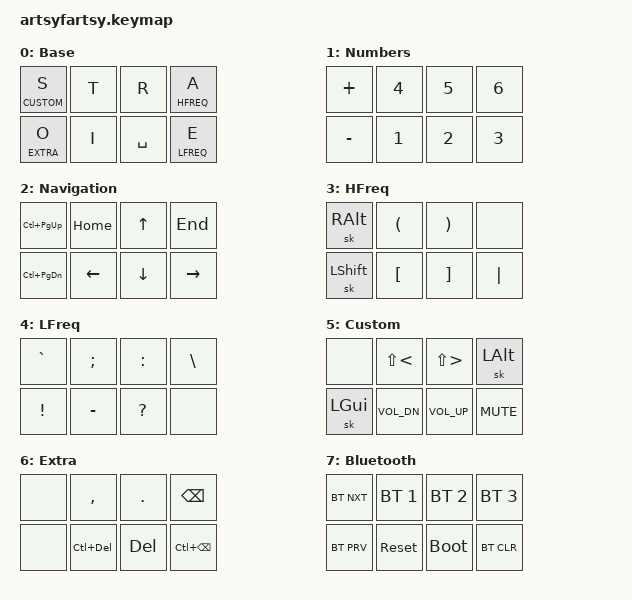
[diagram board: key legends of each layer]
/*
 * SPDX-License-Identifier: MIT
 */

#include <behaviors.dtsi>
#include <dt-bindings/zmk/keys.h>
#include <dt-bindings/zmk/bt.h>
#include <dt-bindings/zmk/outputs.h>



sensor-bindings = <&inc_dec_kp C_VOL_UP C_VOL_DN>;

// LAYERS
// ====================================================
#define BASE    	0
#define NUMBERS 	1
#define NAVIGATION 	2
#define HFREQ 		3
#define LFREQ 		4
#define CUSTOM 		5
#define EXTRA		6
#define BLE		7

// Using layer taps on thumbs, having quick tap as well helps w/ repeating space/backspace
&lt { quick_tap_ms = <200>; };
// Sticky Layer Behavior - release sticky behavior after x ms
&sk { release-after-ms = <1800>; };

// ARTSEY DEFINITIONS (use in conjunction with ARTSEY COMBOS)
// ====================================================
// ZMK uses HW key positions for the combos
/*
	.-----------------------.
	|  0  |  1  |  2  |  3  |
	|  4  |  5  |  6  |  7  |  
	'-----------------------' 
*/
// change according to your HW positions on your shield (board)
// {Key}{Top,Bottom}{Index,Middle,Ring,Pinky}

// ARTS Row Top
#define KTI 3 // Index
#define KTM 2 // Middle
#define KTR 1 // Ring
#define KTP 0 // Pinky
 
// EYIO Row Bottom
#define KBI 7 // Index
#define KBM 6 // Middle
#define KBR 5 // Ring
#define KBP 4 // Pinky


// BEHAVIOR
// ====================================================

/{
	behaviors {
		// Enables holding the first mod-tap key
		// by performing a tap-release-hold sequence.
		// To use it: "&qt KEYCODE1 KEYCODE2"
		qt: quick_tap {
			compatible = "zmk,behavior-hold-tap";
			label = "QUICK_TAP";
			#binding-cells = <2>;
			flavor = "hold-preferred";
			tapping-term-ms = <200>;
			quick-tap-ms = <200>;
			bindings = <&kp>, <&kp>;
		};
	};


// COMBOS
// ====================================================
/*
	.-----------------------.
	|  0  |  1  |  2  |  3  |
	|  4  |  5  |  6  |  7  |  
	'-----------------------' 
*/
// ARTSEY COMBOS
// name of the combo, output of the combo, input for the combo, applied on which layers
	#define COMBO(NAME, BINDINGS, KEYPOS, LAYER) \
	combo_##NAME { \
		timeout-ms = <120>; \
		bindings = <BINDINGS>; \
		key-positions = <KEYPOS>; \
		layers = <LAYER>; \
	};

   combos {
        compatible = "zmk,combos";
		/***************
		* 2 key combos
		****************/
		COMBO(1,&kp ENTER,KTI KBI,0 1 2 3 4 5 6)		// ENTER
		COMBO(2,&sk LCTRL,KBI KTP, 0 1 2 3 4 5 6)		// LCTRL *oneshot
		COMBO(3,&sk LGUI,KBM KTP, 0 1 2 3 4 5 6)		// LGUI  *oneshot
		COMBO(4,&sk RALT,KBR KTP, 0 1 2 3 4 5 6)		// RALT  *oneshot
		COMBO(5,&kp BACKSPACE,KBI KTM, 0 1 2 3 4 5 6)		// BACKSPACE
		COMBO(6,&kp DELETE,KBR KTM, 0 1 2 3 4 5 6)		// DELETE
		COMBO(7,&kt LSHFT,KBM KTM, 0 1 2 3 4 5 6)		// LSHIFT #toggle

		COMBO(8,&kp B,KBI KBP, 0)				// B
		COMBO(9,&kp C,KBI KBM, 0)				// C
		COMBO(10,&kp N,KBP KBR, 0)				// N
		COMBO(11,&kp F,KTM KTI, 0)				// F
		COMBO(12,&kp G,KTR KTM, 0)				// G
		COMBO(13,&kp U,KBR KBM, 0)				// U
		COMBO(14,&kp H,KBI KBR, 0)				// H
		COMBO(15,&kp V,KTP KTM, 0)				// V
		COMBO(16,&kp J,KTP KTR, 0)				// J
		COMBO(17,&kp W,KTP KTI, 0)				// W
		COMBO(18,&kp K,KBP KBM, 0)				// K

		COMBO(19,&kp PERIOD,KBM KTI, 0 1)			// PERIOD
		COMBO(20,&kp COMMA,KBR KTI, 0 1)			// COMMA
		COMBO(21,&kp SLASH,KBP KTI, 0 1)			// SLASH
		COMBO(22,&kp EXCL,KTR KBR, 0 1)				// EXCLAMATION

		COMBO(23,&kp N7,KTR KTM, 1)				// 7
		COMBO(24,&kp N8,KTM KTI, 1)				// 8
		COMBO(25,&kp N9,KBR KBM, 1)				// 9
		COMBO(26,&kp N0,KBM KBI, 1)				// 0

		/***************
		* 3 key combos
		****************/
		COMBO(27,&kp ESC,KTI KTM KBP,0 1 2 3 4 5 6)			// ESC
		COMBO(28,&to NAVIGATION,KBR KTM KBI,0 1 2 3 4 5 6)		// LAYER: NAVIGATION >to
		COMBO(29,&kp CAPS,KBP KTR KBM,0 1 2 3 4 5 6)			// CAPS

		COMBO(30,&kp M,KBP KBR KBM,0)
		COMBO(31,&kp D,KTR KTM KTI,0)
		COMBO(32,&kp P,KBP KBR KBI,0)
		COMBO(33,&kp Q,KTP KTR KTI,0)
		COMBO(34,&kp X,KTP KTR KTM,0)
		COMBO(35,&kp L,KBR KBM KBI,0)
		COMBO(36,&kp SQT,KBR KBM KTI,0)

		/***************
		* 4 key combos
		****************/
		COMBO(37,&kp Y,KBP KBR KBM KBI,0)				// Y
		COMBO(38,&kp Z,KTP KTR KTM KTI,0)				// Z

		COMBO(39,&kp TAB,KBP KTR KTM KTI,0 1 2 3 4 5 6)			// TAB
		COMBO(40,&to BASE,KTP KTR KTM KBI,0 1 2 3 4 5 6)		// LAYER: BASE >to
		COMBO(41,&tog BLE,KTP KBP KTI KBI,0 1 2 3 4 5 6)		// LAYER: BLUETOOTH #toggle
		COMBO(42,&to NUMBERS,KTR KTM KBR KBM,0 1 2 3 4 5 6)		// LAYER: NUMBERS >to
		COMBO(43,&to BASE,KTP KTR KBP KBR,0 1 2 3 4 5 6)		// LAYER: BASE (Fallback) >to

   };

// KEYMAP
// ====================================================
	keymap {
		compatible = "zmk,keymap";
// -----------------------------------------------------------------------------		
/*  0 = Base
	 .-----------------------.
Custom --|-[0] |  1  |  2  | [3]-|-- Low Frequency		[#]-- HOLD to access Layer
Extra  --|-[4] |  5  |  6  | [7]-|-- High Frequency
	 '-----------------------' 
*/
		// LAYER: BASE 0
		default_layer {
			label = "Base";
			bindings = <
			&lt CUSTOM S   &kp T       &kp R       &lt HFREQ A 
			&lt EXTRA O    &kp I       &kp SPACE   &lt LFREQ E 
			>;
		};

// -----------------------------------------------------------------------------
/*  1 = Numbers
	.-----------------------.
	|  0  |  1  |  2  |  3  |
	|  4  |  5  |  6  |  7  |  
	'-----------------------' 
*/
		// LAYER: NUMBERS 1
		numbers_layer {
			label = "Numbers";
			bindings = <
			&kp PLUS    &kp N4      &kp N5      &kp N6
			&kp MINUS   &kp N1      &kp N2      &kp N3
			>;
		};

// -----------------------------------------------------------------------------
/*  2 = Navigation
	.-----------------------.
	|  0  |  1  |  2  |  3  |
	|  4  |  5  |  6  |  7  |  
	'-----------------------' 
*/
		// LAYER: NAVIGATION 2
		navigation_layer {
			label = "Navigation";
			bindings = <
			&kp LC(PG_UP)   &kp HOME    &kp UP       &kp END 
			&kp LC(PG_DN)   &kp LEFT    &kp DOWN     &kp RIGHT 
			>;
		};

// -----------------------------------------------------------------------------
/*  3 = High Frequency
	.-----------------------.
	|  0  |  1  |  2  |  3  |
	|  4  |  5  |  6  |  7  |  
	'-----------------------' 
*/
		// LAYER: HFREQ 3
		hfreq_layer {
			label = "HFreq";
			bindings = <
			&sk RALT   &kp LPAR    &kp RPAR    &none 
			&sk LSHFT  &kp LBKT    &kp RBKT    &kp PIPE
			>;
		};

// -----------------------------------------------------------------------------
/*  4 = Low Frequency
	.-----------------------.
	|  0  |  1  |  2  |  3  |
	|  4  |  5  |  6  |  7  |  
	'-----------------------' 
*/
		// LAYER: LFREQ 4
		lfreq_layer {
			label = "LFreq";
			bindings = <
			&kp GRAVE   &kp SEMI    &kp COLON   &kp BSLH 
			&kp EXCL    &kp MINUS   &kp QMARK   &none
			>;
		};

// -----------------------------------------------------------------------------

/*  5 = Custom
	.-----------------------.
	|  0  |  1  |  2  |  3  |
	|  4  |  5  |  6  |  7  |  
	'-----------------------' 
*/
		// LAYER: CUSTOM 5
		custom_layer {
			label = "Custom";
			bindings = <
			&none  		&kp LS(LT)    	&kp LS(GT)     	&sk LALT
			&sk LGUI	&kp C_VOL_DN    &kp C_VOL_UP    &kp C_MUTE
			>;
		};

// -----------------------------------------------------------------------------
/*  6 = Extra
	.-----------------------.
	|  0  |  1  |  2  |  3  |
	|  4  |  5  |  6  |  7  |  
	'-----------------------' 
*/
		// LAYER: EXTRA 6
		extra_layer {
			label = "Extra";
			bindings = <
			&none		&kp COMMA  	&kp PERIOD	&kp BACKSPACE
			&none 		&kp LC(DEL) 	&kp DEL 	&kp LC(BACKSPACE)
			>;
		};

// -----------------------------------------------------------------------------
/*  7 = Bluetooth
	.-----------------------.
	|  0  |  1  |  2  |  3  |
	|  4  |  5  |  6  |  7  |  
	'-----------------------' 
*/
		// LAYER: BLE 7
		ble_layer {
			label = "Bluetooth";
			bindings = <
			&bt BT_NXT       &bt BT_SEL 1   &bt BT_SEL 2     &bt BT_SEL 3 
			&bt BT_PRV       &sys_reset    	&bootloader	 &bt BT_CLR
			>;
		};

// -----------------------------------------------------------------------------

// -----------------------------------------------------------------------------
    };
};
